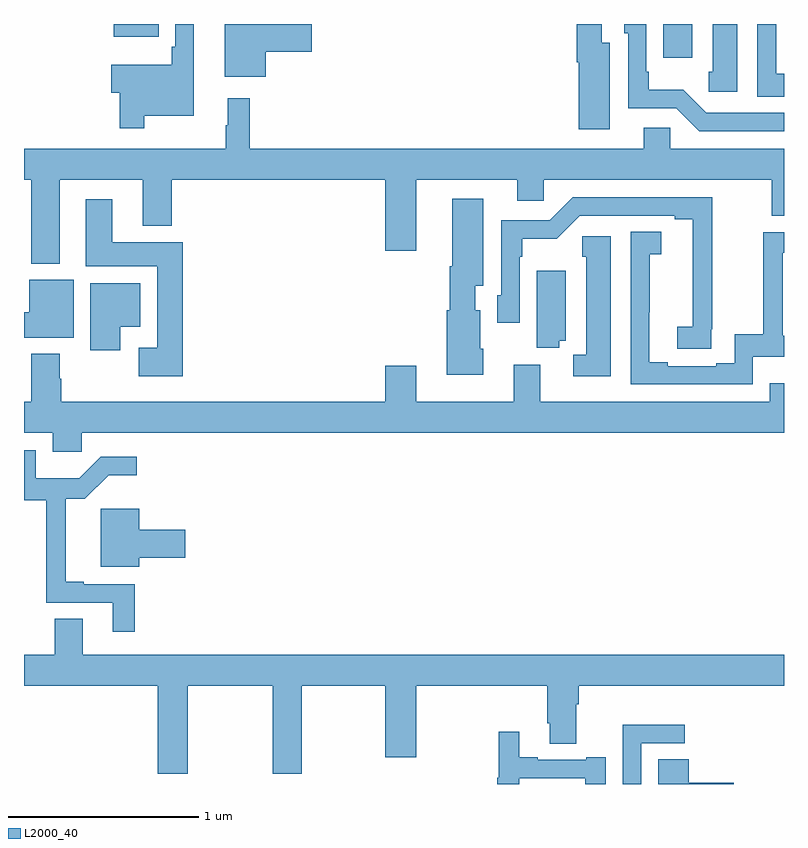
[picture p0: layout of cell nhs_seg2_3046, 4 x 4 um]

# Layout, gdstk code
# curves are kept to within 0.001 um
import gdstk
lib = gdstk.Library(unit=1e-6, precision=1e-09)
def R(c, l, rs):  # rectangles x0, y0, x1, y1
    for r in rs: c.add(gdstk.rectangle(r[:2], r[2:], *l))
def P(c, l, *ps):  # polygons
    for p in ps: c.add(gdstk.Polygon(p, *l))
L2000_40 = (2000, 40)

nhs_seg2_3046 = lib.new_cell('nhs_seg2_3046')
R(nhs_seg2_3046, L2000_40, [(274.364,637.623,274.516,637.8), (271.472,637.733,271.708,637.8)])
P(nhs_seg2_3046, L2000_40, [(272.272,637.655),(272.515,637.655),(272.515,637.8),(272.057,637.8),(272.057,637.523),(272.272,637.523)],
  [(271.633,637.316),(271.894,637.316),(271.894,637.8),(271.797,637.8),(271.797,637.681),(271.777,637.681),(271.777,637.585),(271.46,637.585),(271.46,637.438),(271.504,637.438),(271.504,637.251),(271.633,637.251)],
  [(274.753,637.8),(274.625,637.8),(274.625,637.548),(274.603,637.548),(274.603,637.443),(274.753,637.443)],
  [(275,637.537),(274.959,637.537),(274.959,637.8),(274.86,637.8),(274.86,637.417),(275,637.417)],
  [(275,637.332),(274.59,637.332),(274.469,637.453),(274.288,637.453),(274.288,637.549),(274.275,637.549),(274.275,637.8),(274.158,637.8),(274.158,637.752),(274.179,637.752),(274.179,637.356),(274.434,637.356),(274.554,637.236),(275,637.236)],
  [(274.084,637.702),(274.042,637.702),(274.042,637.8),(273.908,637.8),(273.908,637.598),(273.92,637.598),(273.92,637.245),(274.084,637.245)],
  [(271.189,636.98),(271.625,636.98),(271.625,636.737),(271.778,636.737),(271.778,636.98),(272.9,636.98),(272.9,636.606),(273.064,636.606),(273.064,636.98),(273.596,636.98),(273.596,636.87),(273.735,636.87),(273.735,636.98),(274.936,636.98),(274.936,636.79),(275,636.79),(275,637.144),(274.401,637.144),(274.401,637.254),(274.262,637.254),(274.262,637.144),(272.189,637.144),(272.189,637.408),(272.072,637.408),(272.072,637.268),(272.061,637.268),(272.061,637.144),(271,637.144),(271,636.98),(271.037,636.98),(271.037,636.539),(271.189,636.539)],
  [(274.616,636.193),(274.622,636.193),(274.622,636.888),(273.888,636.888),(273.768,636.768),(273.513,636.768),(273.513,636.372),(273.492,636.372),(273.492,636.228),(273.609,636.228),(273.609,636.575),(273.622,636.575),(273.622,636.671),(273.803,636.671),(273.924,636.792),(274.424,636.792),(274.424,636.772),(274.52,636.772),(274.519,636.206),(274.437,636.206),(274.437,636.091),(274.616,636.091)],
  [(273.418,636.09),(273.402,636.09),(273.402,636.294),(273.376,636.294),(273.376,636.422),(273.418,636.422),(273.418,636.88),(273.254,636.88),(273.254,636.526),(273.242,636.526),(273.242,636.294),(273.224,636.294),(273.224,635.954),(273.418,635.954)],
  [(271.835,636.652),(271.465,636.652),(271.465,636.877),(271.325,636.877),(271.325,636.524),(271.7,636.524),(271.7,636.097),(271.605,636.097),(271.605,635.945),(271.835,635.945)],
  [(274.836,636.05),(275,636.05),(275,636.16),(274.994,636.16),(274.994,636.597),(275,636.597),(275,636.705),(274.891,636.705),(274.891,636.167),(274.74,636.167),(274.74,636.014),(274.643,636.014),(274.643,636),(274.387,636),(274.387,636.02),(274.291,636.02),(274.291,636.283),(274.293,636.283),(274.293,636.587),(274.354,636.587),(274.354,636.707),(274.194,636.707),(274.194,635.904),(274.836,635.904)],
  [(274.087,636.682),(273.937,636.682),(273.937,636.576),(273.959,636.576),(273.959,636.06),(273.891,636.06),(273.891,635.945),(274.087,635.945)],
  [(273.818,636.134),(273.85,636.134),(273.85,636.502),(273.698,636.502),(273.698,636.097),(273.818,636.097)],
  [(271.261,636.454),(271.028,636.454),(271.028,636.284),(271,636.284),(271,636.149),(271.261,636.149)],
  [(271.507,636.206),(271.612,636.206),(271.612,636.436),(271.349,636.436),(271.349,636.084),(271.507,636.084)],
  [(271.303,635.648),(275,635.648),(275,635.91),(274.925,635.91),(274.925,635.812),(273.718,635.812),(273.718,636.007),(273.578,636.007),(273.578,635.812),(273.064,635.812),(273.064,636.001),(272.9,636.001),(272.9,635.812),(271.197,635.812),(271.197,635.933),(271.189,635.933),(271.189,636.064),(271.037,636.064),(271.037,635.812),(271,635.812),(271,635.648),(271.151,635.648),(271.151,635.55),(271.303,635.55)],
  [(271.583,634.851),(271.315,634.851),(271.315,634.864),(271.22,634.864),(271.22,635.301),(271.319,635.301),(271.445,635.426),(271.594,635.426),(271.594,635.523),(271.404,635.523),(271.291,635.41),(271.062,635.41),(271.062,635.556),(271,635.556),(271,635.293),(271.117,635.293),(271.117,634.755),(271.466,634.755),(271.466,634.602),(271.583,634.602)],
  [(271.606,634.991),(271.849,634.991),(271.849,635.138),(271.606,635.138),(271.606,635.248),(271.403,635.248),(271.403,634.943),(271.606,634.943)],
  [(271.863,634.316),(272.308,634.316),(272.308,633.855),(272.463,633.855),(272.463,634.316),(272.9,634.316),(272.9,633.942),(273.064,633.942),(273.064,634.316),(273.755,634.316),(273.755,634.12),(273.767,634.12),(273.767,634.012),(273.907,634.012),(273.907,634.22),(273.92,634.22),(273.92,634.316),(275,634.316),(275,634.48),(271.309,634.48),(271.309,634.67),(271.162,634.67),(271.162,634.48),(271,634.48),(271,634.316),(271.703,634.316),(271.703,633.855),(271.863,633.855)],
  [(274.248,634.014),(274.477,634.014),(274.477,634.112),(274.152,634.112),(274.152,633.8),(274.248,633.8)],
  [(273.606,633.831),(273.953,633.831),(273.953,633.8),(274.063,633.8),(274.063,633.94),(273.959,633.94),(273.959,633.927),(273.703,633.927),(273.703,633.94),(273.607,633.94),(273.607,634.075),(273.498,634.075),(273.498,633.834),(273.49,633.834),(273.49,633.8),(273.606,633.8)],
  [(274.735,633.806),(274.499,633.806),(274.499,633.929),(274.337,633.929),(274.337,633.8),(274.735,633.8)])

lib.write_gds('nhs_seg2_3046.gds')
